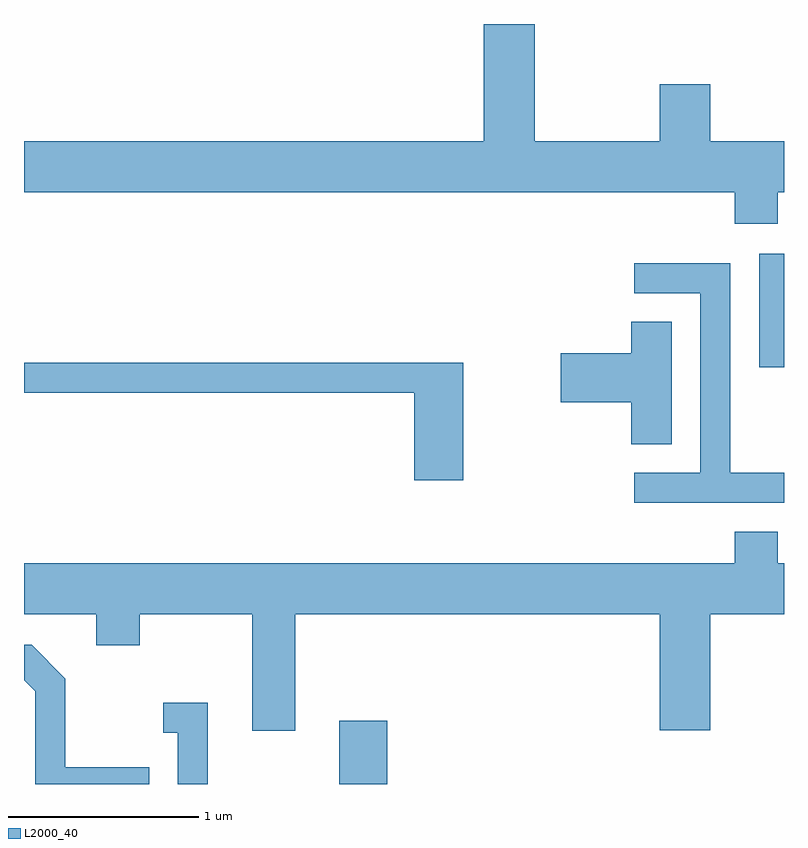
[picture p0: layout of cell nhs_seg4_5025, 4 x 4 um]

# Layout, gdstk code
import gdstk
lib = gdstk.Library(unit=1e-6, precision=1e-09)
def R(c, l, rs):  # rectangles x0, y0, x1, y1
    for r in rs: c.add(gdstk.rectangle(r[:2], r[2:], *l))
def P(c, l, *ps):  # polygons
    for p in ps: c.add(gdstk.Polygon(p, *l))
L2000_40 = (2000, 40)

nhs_seg4_5025 = lib.new_cell('nhs_seg4_5025')
R(nhs_seg4_5025, L2000_40, [(333.271,1375.982,333.524,1376.314), (335.481,1378.176,335.611,1378.774)])
P(nhs_seg4_5025, L2000_40, [(335.579,1379.096),(335.611,1379.096),(335.611,1379.364),(335.224,1379.364),(335.224,1379.664),(334.956,1379.664),(334.956,1379.364),(334.299,1379.364),(334.299,1379.982),(334.031,1379.982),(334.031,1379.364),(331.611,1379.364),(331.611,1379.096),(335.351,1379.096),(335.351,1378.931),(335.579,1378.931)],
  [(335.611,1377.619),(335.329,1377.619),(335.329,1378.724),(334.823,1378.724),(334.823,1378.566),(335.171,1378.566),(335.171,1377.619),(334.823,1377.619),(334.823,1377.461),(335.611,1377.461)],
  [(335.019,1378.414),(334.806,1378.414),(334.806,1378.249),(334.436,1378.249),(334.436,1377.991),(334.806,1377.991),(334.806,1377.771),(335.019,1377.771)],
  [(333.924,1378.199),(331.611,1378.199),(331.611,1378.041),(333.666,1378.041),(333.666,1377.581),(333.924,1377.581)],
  [(333.039,1376.876),(334.956,1376.876),(334.956,1376.266),(335.224,1376.266),(335.224,1376.876),(335.611,1376.876),(335.611,1377.144),(335.579,1377.144),(335.579,1377.309),(335.351,1377.309),(335.351,1377.144),(331.611,1377.144),(331.611,1376.876),(331.991,1376.876),(331.991,1376.711),(332.219,1376.711),(332.219,1376.876),(332.811,1376.876),(332.811,1376.261),(333.039,1376.261)],
  [(332.269,1376.069),(331.829,1376.069),(331.829,1376.537),(331.652,1376.714),(331.611,1376.714),(331.611,1376.529),(331.671,1376.469),(331.671,1375.982),(332.269,1375.982)],
  [(332.579,1376.409),(332.343,1376.409),(332.343,1376.251),(332.421,1376.251),(332.421,1375.982),(332.579,1375.982)])

lib.write_gds('nhs_seg4_5025.gds')
